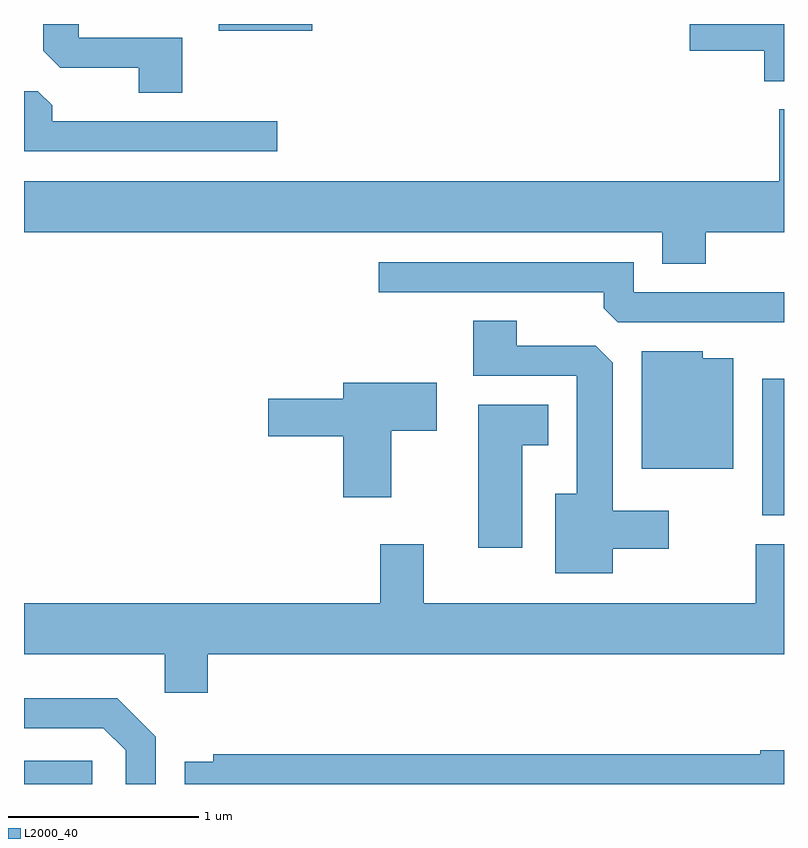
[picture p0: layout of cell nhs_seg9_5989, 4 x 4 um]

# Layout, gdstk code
import gdstk
lib = gdstk.Library(unit=1e-6, precision=1e-09)
def R(c, l, rs):  # rectangles x0, y0, x1, y1
    for r in rs: c.add(gdstk.rectangle(r[:2], r[2:], *l))
def P(c, l, *ps):  # polygons
    for p in ps: c.add(gdstk.Polygon(p, *l))
L2000_40 = (2000, 40)

nhs_seg9_5989 = lib.new_cell('nhs_seg9_5989')
R(nhs_seg9_5989, L2000_40, [(361.611,2024.432,361.969,2024.554), (365.496,2025.846,365.611,2026.564), (362.636,2028.396,363.129,2028.432)])
P(nhs_seg9_5989, L2000_40, [(365.611,2028.432),(365.116,2028.432),(365.116,2028.291),(365.506,2028.291),(365.506,2028.131),(365.611,2028.131)],
  [(362.444,2028.359),(361.899,2028.359),(361.899,2028.432),(361.711,2028.432),(361.711,2028.292),(361.802,2028.201),(362.216,2028.201),(362.216,2028.071),(362.444,2028.071)],
  [(362.943,2027.919),(361.759,2027.919),(361.759,2028.004),(361.684,2028.079),(361.611,2028.079),(361.611,2027.761),(362.943,2027.761)],
  [(365.199,2027.336),(365.611,2027.336),(365.611,2027.983),(365.586,2027.983),(365.586,2027.604),(361.611,2027.604),(361.611,2027.336),(364.971,2027.336),(364.971,2027.171),(365.199,2027.171)],
  [(365.611,2027.019),(364.819,2027.019),(364.819,2027.179),(363.478,2027.179),(363.478,2027.021),(364.661,2027.021),(364.661,2026.937),(364.737,2026.861),(365.611,2026.861)],
  [(364.709,2025.671),(365.004,2025.671),(365.004,2025.869),(364.709,2025.869),(364.709,2026.649),(364.619,2026.739),(364.204,2026.739),(364.204,2026.869),(363.976,2026.869),(363.976,2026.581),(364.521,2026.581),(364.521,2025.959),(364.406,2025.959),(364.406,2025.541),(364.709,2025.541)],
  [(365.344,2026.674),(365.184,2026.674),(365.184,2026.709),(364.861,2026.709),(364.861,2026.091),(365.344,2026.091)],
  [(363.544,2026.291),(363.784,2026.291),(363.784,2026.544),(363.291,2026.544),(363.291,2026.459),(362.896,2026.459),(362.896,2026.261),(363.291,2026.261),(363.291,2025.941),(363.544,2025.941)],
  [(364.234,2026.216),(364.369,2026.216),(364.369,2026.429),(364.001,2026.429),(364.001,2025.676),(364.234,2025.676)],
  [(362.579,2025.116),(365.611,2025.116),(365.611,2025.694),(365.461,2025.694),(365.461,2025.384),(363.714,2025.384),(363.714,2025.694),(363.486,2025.694),(363.486,2025.384),(361.611,2025.384),(361.611,2025.116),(362.351,2025.116),(362.351,2024.911),(362.579,2024.911)],
  [(362.304,2024.682),(362.102,2024.884),(361.611,2024.884),(361.611,2024.726),(362.029,2024.726),(362.146,2024.609),(362.146,2024.432),(362.304,2024.432)],
  [(365.611,2024.609),(365.486,2024.609),(365.486,2024.589),(362.606,2024.589),(362.606,2024.549),(362.456,2024.549),(362.456,2024.432),(365.611,2024.432)])

lib.write_gds('nhs_seg9_5989.gds')
